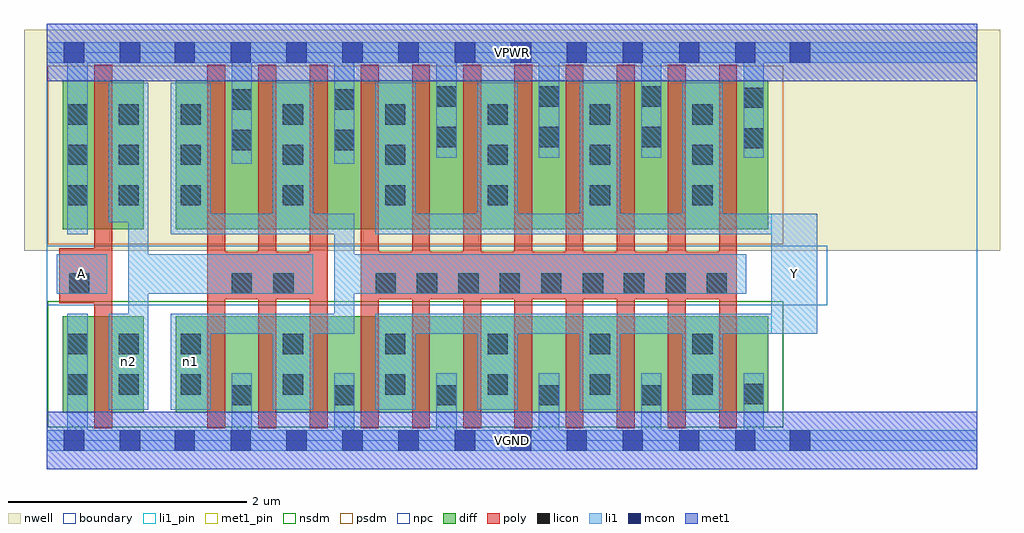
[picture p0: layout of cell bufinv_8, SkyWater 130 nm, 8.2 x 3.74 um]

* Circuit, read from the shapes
.subckt bufinv_8 A VGND VPWR Y n1 n2
XM1 n2 A VGND VSUBS sky130_fd_pr__nfet_01v8 w=0.81 l=0.15
XM2 VGND n2 n1 VSUBS sky130_fd_pr__nfet_01v8 w=0.81 l=0.15 m=3
XM3 Y n1 VGND VSUBS sky130_fd_pr__nfet_01v8 w=0.81 l=0.15 m=8
XM4 n2 A VPWR n3 sky130_fd_pr__pfet_01v8 w=1.25 l=0.15
XM5 VPWR n2 n1 n3 sky130_fd_pr__pfet_01v8 w=1.25 l=0.15 m=3
XM6 Y n1 VPWR n3 sky130_fd_pr__pfet_01v8 w=1.25 l=0.15 m=8
.ends

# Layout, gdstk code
import gdstk
lib = gdstk.Library(unit=1e-6, precision=1e-09)
def R(c, l, rs):  # rectangles x0, y0, x1, y1
    for r in rs: c.add(gdstk.rectangle(r[:2], r[2:], *l))
def A(c, l, x, y, w, h, nx, ny, dx, dy):  # array of equal rectangles
    R(c, l, [(x+i*dx, y+j*dy, x+i*dx+w, y+j*dy+h) for i in range(nx) for j in range(ny)])
nwell = (64, 20)
diff = (65, 20)
poly = (66, 20)
licon = (66, 44)
li1_pin = (67, 16)
li1 = (67, 20)
mcon = (67, 44)
met1_pin = (68, 16)
met1 = (68, 20)
nsdm = (93, 44)
psdm = (94, 20)
npc = (95, 20)
boundary = (235, 4)

bufinv_8 = lib.new_cell('bufinv_8')
R(bufinv_8, nwell, [(-0.19,1.595,8.01,3.45), (0,1.595,7.82,3.45)])
R(bufinv_8, diff, [(0.135,0.235,0.815,1.045), (1.085,0.235,6.065,1.045), (0.135,1.775,0.815,3.025), (1.085,1.775,6.065,3.025)])
A(bufinv_8, poly, 1.35, 0.105, 0.15, 3.05, 11, 1, 0.43, 0)
R(bufinv_8, poly, [(0.4,0.105,0.55,3.155), (0.105,1.155,0.55,1.615), (1.35,1.185,2.36,1.585), (2.64,1.185,5.8,1.585)])
A(bufinv_8, licon, 1.555, 0.295, 0.17, 0.17, 5, 1, 0.86, 0)
A(bufinv_8, licon, 1.125, 0.385, 0.17, 0.17, 6, 2, 0.86, 0.34)
A(bufinv_8, licon, 3.805, 1.235, 0.17, 0.17, 3, 1, 0.35, 0)
A(bufinv_8, licon, 0.175, 1.975, 0.17, 0.17, 1, 3, 0, 0.34)
A(bufinv_8, licon, 0.605, 1.975, 0.17, 0.17, 1, 3, 0, 0.34)
A(bufinv_8, licon, 1.125, 1.975, 0.17, 0.17, 6, 3, 0.86, 0.34)
A(bufinv_8, licon, 3.275, 2.465, 0.17, 0.17, 3, 2, 0.86, 0.34)
R(bufinv_8, licon, [(5.855,0.305,6.025,0.475), (0.175,0.385,0.345,0.555), (0.605,0.385,0.775,0.555), (0.175,0.725,0.345,0.895), (0.605,0.725,0.775,0.895), (0.19,1.235,0.36,1.405), (1.555,1.235,1.725,1.405), (1.905,1.235,2.075,1.405), (2.765,1.235,2.935,1.405), (3.11,1.235,3.28,1.405), (3.46,1.235,3.63,1.405), (4.85,1.235,5.02,1.405), (5.2,1.235,5.37,1.405), (5.545,1.235,5.715,1.405), (1.555,2.44,1.725,2.61), (2.415,2.44,2.585,2.61), (5.855,2.455,6.025,2.625), (1.555,2.78,1.725,2.95), (2.415,2.78,2.585,2.95), (5.855,2.795,6.025,2.965)])
R(bufinv_8, li1_pin, [(6.09,0.895,6.475,1.905), (0.085,1.235,0.51,1.565)])
A(bufinv_8, li1, 1.555, -0.085, 0.17, 0.65, 6, 1, 0.86, 0)
A(bufinv_8, li1, 1.9, 0.26, 0.34, 0.805, 5, 1, 0.86, 0)
A(bufinv_8, li1, 1.9, 1.735, 0.34, 1.27, 5, 1, 0.86, 0)
A(bufinv_8, li1, 3.275, 2.375, 0.17, 0.97, 4, 1, 0.86, 0)
R(bufinv_8, li1, [(0,-0.085,7.82,0.085), (0.175,-0.085,0.345,1.065), (0.52,0.26,0.855,1.065), (0.685,0.26,0.855,3.005), (1.045,0.26,1.38,1.065), (1.045,0.895,2.585,1.065), (2.415,0.895,2.585,1.905), (2.76,0.895,6.475,1.065), (6.09,0.895,6.475,1.905), (0.085,1.235,0.51,1.565), (0.685,1.235,2.24,1.565), (2.415,1.235,5.88,1.565), (0.175,1.735,0.345,3.345), (1.045,1.735,2.585,1.905), (1.045,1.735,1.38,3.005), (2.76,1.735,6.475,1.905), (0.52,1.835,0.855,3.005), (1.555,2.325,1.725,3.345), (2.415,2.325,2.585,3.345), (0,3.175,7.82,3.345)])
A(bufinv_8, mcon, 1.075, -0.085, 0.17, 0.17, 5, 2, 0.47, 3.26)
A(bufinv_8, mcon, 3.43, -0.085, 0.17, 0.17, 4, 2, 0.47, 3.26)
R(bufinv_8, mcon, [(0.145,-0.085,0.315,0.085), (0.615,-0.085,0.785,0.085), (5.315,-0.085,5.485,0.085), (5.785,-0.085,5.955,0.085), (6.245,-0.085,6.415,0.085), (0.145,3.175,0.315,3.345), (0.615,3.175,0.785,3.345), (5.315,3.175,5.485,3.345), (5.785,3.175,5.955,3.345), (6.245,3.175,6.415,3.345)])
R(bufinv_8, met1_pin, [(0,-0.24,7.82,0.24), (0,3.02,7.82,3.5)])
R(bufinv_8, met1, [(0,-0.24,7.82,0.24), (0,3.02,7.82,3.5)])
R(bufinv_8, nsdm, [(0.01,0.11,6.19,1.17)])
R(bufinv_8, psdm, [(0.01,1.65,6.19,3.15)])
R(bufinv_8, npc, [(0,1.135,6.56,1.635)])
R(bufinv_8, boundary, [(0,0,7.82,3.26)])
bufinv_8.add(gdstk.Label('A', (0.297,1.4), layer=67, texttype=5))
bufinv_8.add(gdstk.Label('Y', (6.282,1.4), layer=67, texttype=5))
bufinv_8.add(gdstk.Label('n2', (0.687,0.662), layer=67, texttype=5))
bufinv_8.add(gdstk.Label('n1', (1.212,0.662), layer=67, texttype=5))
bufinv_8.add(gdstk.Label('VPWR', (3.91,3.26), layer=68, texttype=5))
bufinv_8.add(gdstk.Label('VGND', (3.91,0), layer=68, texttype=5))
bufinv_8.add(gdstk.Label('A', (0.297,1.4), layer=67, texttype=16))
bufinv_8.add(gdstk.Label('Y', (6.282,1.4), layer=67, texttype=16))
bufinv_8.add(gdstk.Label('VPWR', (3.91,3.26), layer=68, texttype=16))
bufinv_8.add(gdstk.Label('VGND', (3.91,0), layer=68, texttype=16))

lib.write_gds('bufinv_8.gds')
